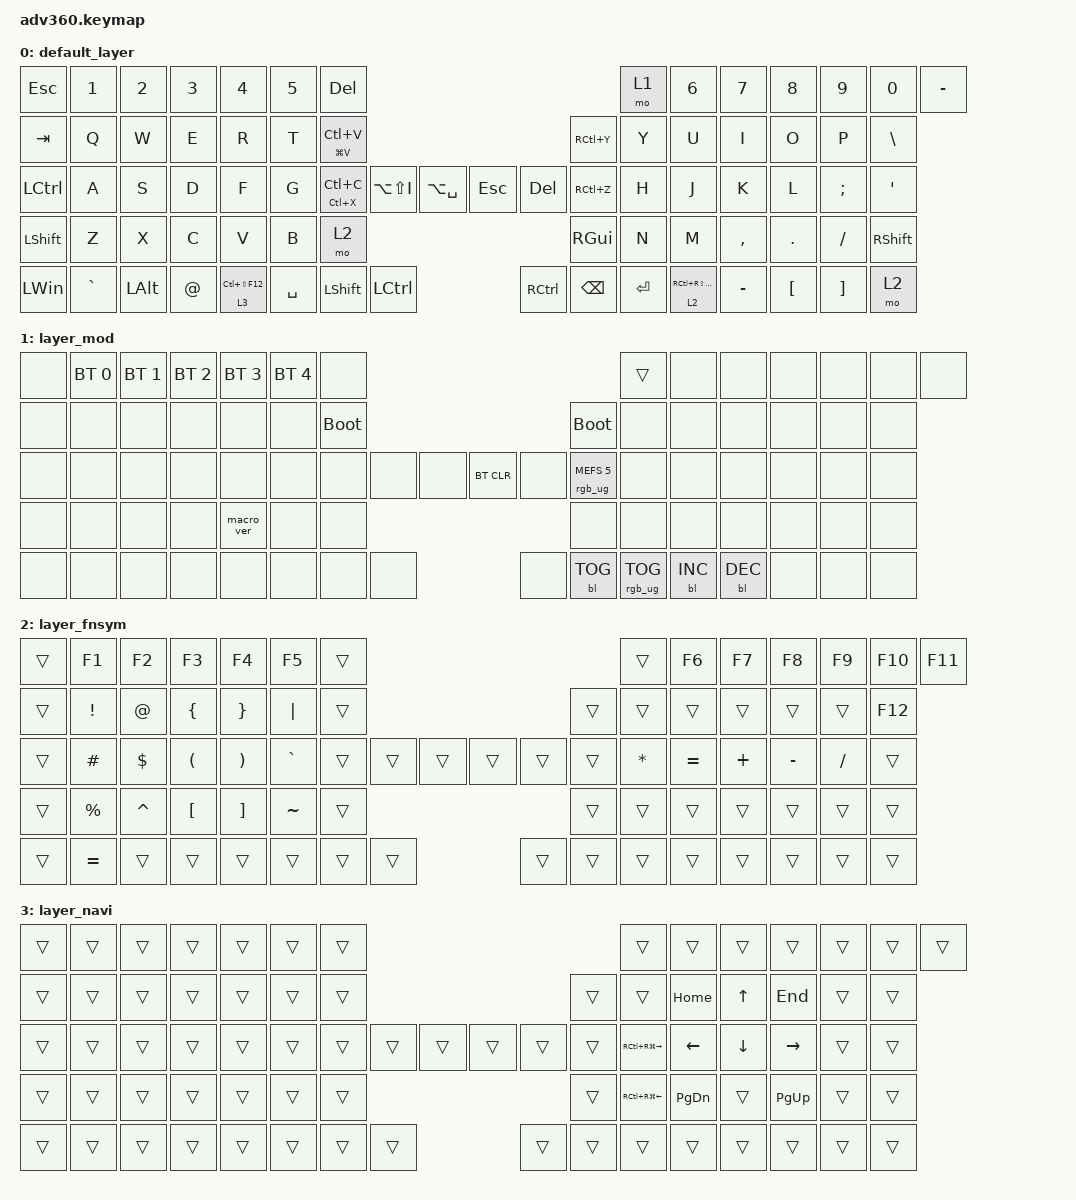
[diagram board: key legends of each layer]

/*
 * Copyright (c) 2020 The ZMK Contributors
 *
 * SPDX-License-Identifier: MIT
 */


/* THIS FILE WAS GENERATED!
 *
 * This file was generated automatically. You may or may not want to
 * edit it directly.
 */

#include <behaviors.dtsi>
#include <dt-bindings/zmk/keys.h>
#include <dt-bindings/zmk/bt.h>
#include <dt-bindings/zmk/rgb.h>
#include <dt-bindings/zmk/backlight.h>

/ {
  behaviors {
    #include "macros.dtsi"
    #include "version.dtsi"

    hm: homerow_mods {
        compatible = "zmk,behavior-hold-tap";
        label = "HOMEROW_MODS";
        #binding-cells = <2>;
        tapping-term-ms = <200>;
        quick_tap_ms = <175>;
        flavor = "tap-preferred";
        bindings = <&kp>, <&kp>;
    };
  };

    keymap {
        compatible = "zmk,keymap";


        default_layer {
            bindings = <
      &kp ESC     &kp N1    &kp N2       &kp N3             &kp N4  &kp N5                    &kp DEL                                                                               &mo 1  &kp N6             &kp N7     &kp N8    &kp N9    &kp N0  &kp MINUS
      &kp TAB      &kp Q     &kp W        &kp E              &kp R   &kp T            &mt LG(V) LC(V)                                                                           &kp RC(Y)   &kp Y              &kp U      &kp I     &kp O     &kp P   &kp BSLH
    &kp LCTRL      &kp A     &kp S        &kp D              &kp F   &kp G            &mt LC(X) LC(C)   &kp LA(LS(I))  &kp LA(SPACE)                    &kp ESC        &kp DEL  &kp RC(Z)   &kp H              &kp J      &kp K     &kp L  &kp SEMI    &kp SQT
    &kp LSHFT      &kp Z     &kp X        &kp C              &kp V   &kp B                                                     &mo 2                   &kp RGUI                             &kp N              &kp M  &kp COMMA   &kp DOT  &kp FSLH  &kp RSHFT
 &kp LEFT_WIN  &kp GRAVE  &kp LALT  &kp AT_SIGN  &lt 3 LC(LS(F12))                          &kp SPACE  &kp LEFT_SHIFT      &kp LCTRL                  &kp RCTRL  &kp BACKSPACE  &kp ENTER          &lt 2 RC(RS(F11))  &kp MINUS  &kp LBKT  &kp RBKT      &mo 2
            >;
        };

        layer_mod {
            bindings = <
  &none  &bt BT_SEL 0  &bt BT_SEL 1  &bt BT_SEL 2  &bt BT_SEL 3  &bt BT_SEL 4                  &none                                                                          &trans   &none       &none       &none   &none   &none   &none
  &none         &none         &none         &none         &none         &none            &bootloader                                                                     &bootloader   &none       &none       &none   &none   &none   &none
  &none         &none         &none         &none         &none         &none                  &none   &none   &none                  &bt BT_CLR       &none  &rgb_ug RGB_MEFS_CMD 5   &none       &none       &none   &none   &none   &none
  &none         &none         &none         &none    &macro_ver         &none                                  &none                       &none                                       &none       &none       &none   &none   &none   &none
  &none         &none         &none         &none         &none                                &none   &none   &none                       &none  &bl BL_TOG         &rgb_ug RGB_TOG          &bl BL_INC  &bl BL_DEC   &none   &none   &none
            >;
        };

        layer_fnsym {
            bindings = <
 &trans           &kp F1       &kp F2                &kp F3                 &kp F4     &kp F5            &trans                                                  &trans     &kp F6     &kp F7    &kp F8     &kp F9    &kp F10  &kp F11
 &trans  &kp EXCLAMATION  &kp AT_SIGN        &kp LEFT_BRACE        &kp RIGHT_BRACE   &kp PIPE            &trans                                                  &trans     &trans     &trans    &trans     &trans     &trans  &kp F12
 &trans         &kp HASH   &kp DOLLAR  &kp LEFT_PARENTHESIS  &kp RIGHT_PARENTHESIS  &kp GRAVE            &trans  &trans  &trans                  &trans  &trans  &trans  &kp ASTRK  &kp EQUAL  &kp PLUS  &kp MINUS  &kp SLASH   &trans
 &trans      &kp PERCENT    &kp CARET      &kp LEFT_BRACKET      &kp RIGHT_BRACKET  &kp TILDE                            &trans                  &trans                     &trans     &trans    &trans     &trans     &trans   &trans
 &trans        &kp EQUAL       &trans                &trans                 &trans                       &trans  &trans  &trans                  &trans  &trans  &trans                &trans    &trans     &trans     &trans   &trans
            >;
        };

        layer_navi {
            bindings = <
 &trans  &trans  &trans  &trans  &trans  &trans            &trans                                                  &trans                   &trans          &trans          &trans           &trans  &trans  &trans
 &trans  &trans  &trans  &trans  &trans  &trans            &trans                                                  &trans                   &trans        &kp HOME    &kp UP_ARROW          &kp END  &trans  &trans
 &trans  &trans  &trans  &trans  &trans  &trans            &trans  &trans  &trans                  &trans  &trans  &trans  &kp RC(RG(RIGHT_ARROW))  &kp LEFT_ARROW  &kp DOWN_ARROW  &kp RIGHT_ARROW  &trans  &trans
 &trans  &trans  &trans  &trans  &trans  &trans                            &trans                  &trans                   &kp RC(RG(LEFT_ARROW))       &kp PG_DN          &trans        &kp PG_UP  &trans  &trans
 &trans  &trans  &trans  &trans  &trans                    &trans  &trans  &trans                  &trans  &trans  &trans                                   &trans          &trans           &trans  &trans  &trans
            >;
        };

    };
};
